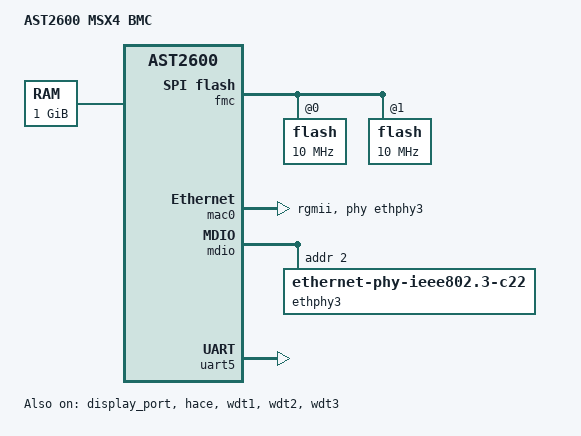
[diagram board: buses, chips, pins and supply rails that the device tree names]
// SPDX-License-Identifier: GPL-2.0+
/dts-v1/;

#include "ast2600-u-boot.dtsi"

/ {
	model = "AST2600 MSX4 BMC";
	compatible = "aspeed,ast2600-msx4", "aspeed,ast2600";

	memory {
		device_type = "memory";
		reg = <0x80000000 0x40000000>;
	};

	chosen {
		stdout-path = &uart5;
	};

	aliases {
		spi0 = &fmc;
		ethernet0 = &mac0;
	};

	cpus {
		cpu@0 {
			clock-frequency = <800000000>;
		};
		cpu@1 {
			clock-frequency = <800000000>;
		};
	};
};

&display_port {
	status = "okay";
};

&fmc {
	status = "okay";
	pinctrl-names = "default";
	pinctrl-0 = <&pinctrl_fmcquad_default>;
	aspeed,abr-watchdog-disable;

	flash@0 {
		status = "okay";
		spi-max-frequency = <10000000>;
		spi-tx-bus-width = <2>;
		spi-rx-bus-width = <2>;
	};

	flash@1 {
		status = "okay";
		spi-max-frequency = <10000000>;
		spi-tx-bus-width = <1>;
		spi-rx-bus-width = <1>;
	};
};

&hace {
	status = "okay";
};

&mac0 {
	status = "okay";
	phy-mode = "rgmii";
	phy-handle = <&ethphy3>;

	pinctrl-names = "default";
	pinctrl-0 = <&pinctrl_rgmii1_default>;
};

&mdio {
	status = "okay";
	pinctrl-names = "default";
	pinctrl-0 = <&pinctrl_mdio4_default>;
	#address-cells = <1>;
	#size-cells = <0>;

	ethphy3: ethernet-phy@0 {
		compatible = "ethernet-phy-ieee802.3-c22";
		reg = <2>;
	};
};

&scu {
	mac0-clk-delay = <0x1d 0x0a
			  0x1d 0x0a
			  0x1d 0x0a>;
};

&sdrammc {
	clock-frequency = <400000000>;
	aspeed,ecc-enabled;
	aspeed,ecc-size-mb = <0>;
};

&uart5 {
	status = "okay";
	u-boot,dm-pre-reloc;
};

&wdt1 {
	status = "okay";
};

&wdt2 {
	status = "okay";
};

&wdt3 {
	status = "okay";
};
